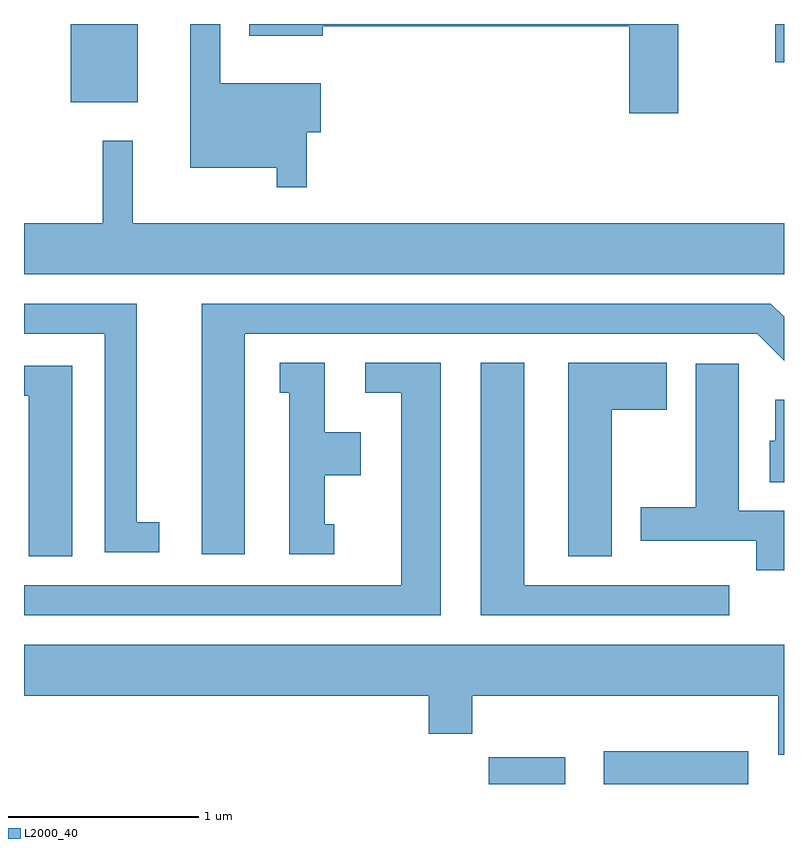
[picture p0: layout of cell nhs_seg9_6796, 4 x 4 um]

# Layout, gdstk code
import gdstk
lib = gdstk.Library(unit=1e-6, precision=1e-09)
def R(c, l, rs):  # rectangles x0, y0, x1, y1
    for r in rs: c.add(gdstk.rectangle(r[:2], r[2:], *l))
def P(c, l, *ps):  # polygons
    for p in ps: c.add(gdstk.Polygon(p, *l))
L2000_40 = (2000, 40)

nhs_seg9_6796 = lib.new_cell('nhs_seg9_6796')
R(nhs_seg9_6796, L2000_40, [(388.056,2022.432,388.459,2022.574), (388.661,2022.432,389.424,2022.604), (385.856,2026.021,386.209,2026.432), (389.566,2026.231,389.611,2026.432)])
P(nhs_seg9_6796, L2000_40, [(389.054,2026.432),(386.796,2026.432),(386.796,2026.371),(387.184,2026.371),(387.184,2026.421),(388.796,2026.421),(388.796,2025.961),(389.054,2025.961)],
  [(387.099,2025.861),(387.174,2025.861),(387.174,2026.119),(386.644,2026.119),(386.644,2026.432),(386.486,2026.432),(386.486,2025.676),(386.941,2025.676),(386.941,2025.573),(387.099,2025.573)],
  [(389.611,2025.384),(386.184,2025.384),(386.184,2025.818),(386.026,2025.818),(386.026,2025.384),(385.611,2025.384),(385.611,2025.116),(389.611,2025.116)],
  [(386.323,2023.809),(386.204,2023.809),(386.204,2024.959),(385.611,2024.959),(385.611,2024.801),(386.036,2024.801),(386.036,2023.651),(386.323,2023.651)],
  [(386.774,2024.801),(389.469,2024.801),(389.611,2024.659),(389.611,2024.89),(389.542,2024.959),(386.546,2024.959),(386.546,2023.641),(386.774,2023.641)],
  [(387.804,2024.649),(387.408,2024.649),(387.408,2024.491),(387.596,2024.491),(387.596,2023.479),(385.611,2023.479),(385.611,2023.321),(387.804,2023.321)],
  [(388.704,2024.401),(388.994,2024.401),(388.994,2024.649),(388.476,2024.649),(388.476,2023.631),(388.704,2023.631)],
  [(389.323,2023.479),(388.244,2023.479),(388.244,2024.649),(388.016,2024.649),(388.016,2023.321),(389.323,2023.321)],
  [(387.243,2023.799),(387.194,2023.799),(387.194,2024.056),(387.384,2024.056),(387.384,2024.284),(387.194,2024.284),(387.194,2024.649),(386.958,2024.649),(386.958,2024.491),(387.006,2024.491),(387.006,2023.641),(387.243,2023.641)],
  [(389.611,2023.869),(389.374,2023.869),(389.374,2024.644),(389.146,2024.644),(389.146,2023.889),(388.856,2023.889),(388.856,2023.711),(389.466,2023.711),(389.466,2023.558),(389.611,2023.558)],
  [(385.864,2024.634),(385.611,2024.634),(385.611,2024.476),(385.636,2024.476),(385.636,2023.631),(385.864,2023.631)],
  [(389.611,2024.454),(389.566,2024.454),(389.566,2024.239),(389.536,2024.239),(389.536,2024.021),(389.611,2024.021)],
  [(389.611,2023.164),(385.611,2023.164),(385.611,2022.896),(387.741,2022.896),(387.741,2022.696),(387.969,2022.696),(387.969,2022.896),(389.581,2022.896),(389.581,2022.586),(389.611,2022.586)])

lib.write_gds('nhs_seg9_6796.gds')
